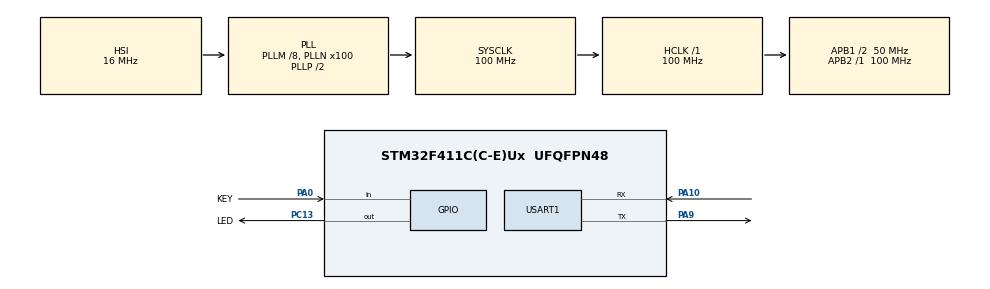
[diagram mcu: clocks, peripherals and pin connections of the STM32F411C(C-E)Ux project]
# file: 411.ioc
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Dma.Request0=USART1_TX
Dma.Request1=USART1_RX
Dma.USART1_RX.1.Direction=DMA_PERIPH_TO_MEMORY
Dma.USART1_RX.1.FIFOMode=DMA_FIFOMODE_DISABLE
Dma.USART1_RX.1.Instance=DMA2_Stream2
Dma.USART1_RX.1.MemDataAlignment=DMA_MDATAALIGN_BYTE
Dma.USART1_RX.1.MemInc=DMA_MINC_ENABLE
Dma.USART1_RX.1.Mode=DMA_NORMAL
Dma.USART1_RX.1.PeriphDataAlignment=DMA_PDATAALIGN_BYTE
Dma.USART1_RX.1.PeriphInc=DMA_PINC_DISABLE
Dma.USART1_RX.1.Priority=DMA_PRIORITY_LOW
Dma.USART1_TX.0.Direction=DMA_MEMORY_TO_PERIPH
Dma.USART1_TX.0.FIFOMode=DMA_FIFOMODE_DISABLE
Dma.USART1_TX.0.Instance=DMA2_Stream7
Dma.USART1_TX.0.MemDataAlignment=DMA_MDATAALIGN_BYTE
Dma.USART1_TX.0.MemInc=DMA_MINC_ENABLE
Dma.USART1_TX.0.Mode=DMA_NORMAL
Dma.USART1_TX.0.PeriphDataAlignment=DMA_PDATAALIGN_BYTE
Dma.USART1_TX.0.PeriphInc=DMA_PINC_DISABLE
Dma.USART1_TX.0.Priority=DMA_PRIORITY_LOW
FREERTOS.Mutexes01=myUASRT,Dynamic,NULL,Available
FREERTOS.Queues01=myQueue01,16,uint16_t,0,Dynamic,NULL,NULL
FREERTOS.Tasks01=defaultTask,24,128,StartDefaultTask,Default,NULL,Dynamic,NULL,NULL;myUSART,24,128,StartTask02,Default,NULL,Dynamic,NULL,NULL
Mcu.Family=STM32F4
Mcu.Name=STM32F411C(C-E)Ux
Mcu.Package=UFQFPN48
NVIC.DMA2_Stream2_IRQn=true\:5\:0\:false\:false\:true\:true\:false\:true\:true
NVIC.DMA2_Stream7_IRQn=true\:5\:0\:false\:false\:true\:true\:false\:true\:true
NVIC.PriorityGroup=NVIC_PRIORITYGROUP_4
NVIC.TIM1_UP_TIM10_IRQn=true\:15\:0\:false\:false\:true\:false\:false\:true\:true
NVIC.TimeBase=TIM1_UP_TIM10_IRQn
NVIC.TimeBaseIP=TIM1
NVIC.USART1_IRQn=true\:5\:0\:false\:false\:true\:true\:false\:true\:true
PA0-WKUP.GPIO_Label=KEY
PA0-WKUP.GPIO_PuPd=GPIO_PULLUP
PA0-WKUP.Signal=GPIO_Input
PA10.Mode=Asynchronous
PA10.Signal=USART1_RX
PA13.Mode=Serial_Wire
PA13.Signal=SYS_JTMS-SWDIO
PA14.Mode=Serial_Wire
PA14.Signal=SYS_JTCK-SWCLK
PA9.Mode=Asynchronous
PA9.Signal=USART1_TX
PC13-ANTI_TAMP.GPIO_Label=LED
PC13-ANTI_TAMP.PinState=GPIO_PIN_SET
PC13-ANTI_TAMP.Signal=GPIO_Output
PH0\ -\ OSC_IN.Mode=HSE-External-Oscillator
PH0\ -\ OSC_IN.Signal=RCC_OSC_IN
PH1\ -\ OSC_OUT.Mode=HSE-External-Oscillator
PH1\ -\ OSC_OUT.Signal=RCC_OSC_OUT
ProjectManager.HeapSize=0x200
ProjectManager.StackSize=0x400
ProjectManager.TargetToolchain=CMake
RCC.48MHZClocksFreq_Value=50000000
RCC.AHBFreq_Value=100000000
RCC.APB1CLKDivider=RCC_HCLK_DIV2
RCC.APB1Freq_Value=50000000
RCC.APB1TimFreq_Value=100000000
RCC.APB2Freq_Value=100000000
RCC.APB2TimFreq_Value=100000000
RCC.CortexFreq_Value=100000000
RCC.HCLKFreq_Value=100000000
RCC.HSE_VALUE=25000000
RCC.HSI_VALUE=16000000
RCC.LSE_VALUE=32768
RCC.PLLM=8
RCC.PLLN=100
RCC.SYSCLKFreq_VALUE=100000000
RCC.SYSCLKSource=RCC_SYSCLKSOURCE_PLLCLK
RCC.VCOOutputFreq_Value=200000000
USART1.VirtualMode=VM_ASYNC
VP_FREERTOS_VS_CMSIS_V2.Mode=CMSIS_V2
VP_SYS_VS_tim1.Mode=TIM1
board=custom

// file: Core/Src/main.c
/* USER CODE BEGIN Header */
/**
  ******************************************************************************
  * @file           : main.c
  * @brief          : Main program body
  ******************************************************************************
  * @attention
  *
  * Copyright (c) 2026 STMicroelectronics.
  * All rights reserved.
  *
  * This software is licensed under terms that can be found in the LICENSE file
  * in the root directory of this software component.
  * If no LICENSE file comes with this software, it is provided AS-IS.
  *
  ******************************************************************************
  */
/* USER CODE END Header */
#include "main.h"
#include "cmsis_os.h"
#include "dma.h"
#include "usart.h"
#include "gpio.h"

/* USER CODE BEGIN Includes */
#include "ota_app_hook.h"   /* OTA 组件 APP 变体（elab components/ota）*/
#include "stdio.h"
/* USER CODE END Includes */

void SystemClock_Config(void);
void MX_FREERTOS_Init(void);

/* USER CODE BEGIN 0 */
/* OTA 组件发现应答通道（0x15 → RSP_COMPONENTS）：轮询发送，ISR 上下文安全 */
static void ota_discovery_write(uint8_t byte)
{
  (void)HAL_UART_Transmit(&huart1, &byte, 1, 10);
}

/* USER CODE END 0 */

int main(void)
{

  /* MCU Configuration--------------------------------------------------------*/

  /* Reset of all peripherals, Initializes the Flash interface and the Systick. */
  HAL_Init();

  /* Configure the system clock */
  SystemClock_Config();

  /* Initialize all configured peripherals */
  MX_GPIO_Init();
  MX_DMA_Init();
  MX_USART1_UART_Init();
  /* USER CODE BEGIN 2 */

    /* ── OTA 组件接入（elab components/ota，方案 §3.5）────────── */
  SCB->VTOR = 0x08010000UL;                      /* APP 布局：向量表重定位到 S4 */
  __HAL_UART_ENABLE_IT(&huart1, UART_IT_RXNE);   /* 逐字节中断: 防 5 连'!'在 IDLE 前被 ORE 丢字节 */
  __HAL_UART_ENABLE_IT(&huart1, UART_IT_IDLE);   /* '!'×5 / 0x15 字节源 */
  OtaHook_SetRespondFn(ota_discovery_write);     /* 组件发现应答通道 */
  (void)OtaHook_EnableDiscovery(0x3UL);          /* 位图：ota(bit0)+serial(bit1) */

/* USER CODE END 2 */

  /* Init scheduler */
  osKernelInitialize();  /* Call init function for freertos objects (in cmsis_os2.c) */
  MX_FREERTOS_Init();

  /* Start scheduler */
  osKernelStart();

  /* We should never get here as control is now taken by the scheduler */

  /* Infinite loop */
  while (1)
  {

  }
}

void SystemClock_Config(void)
{
  RCC_OscInitTypeDef RCC_OscInitStruct = {0};
  RCC_ClkInitTypeDef RCC_ClkInitStruct = {0};

  /** Configure the main internal regulator output voltage
  */
  __HAL_RCC_PWR_CLK_ENABLE();
  __HAL_PWR_VOLTAGESCALING_CONFIG(PWR_REGULATOR_VOLTAGE_SCALE1);

  /** Initializes the RCC Oscillators according to the specified parameters
  * in the RCC_OscInitTypeDef structure.
  */
  RCC_OscInitStruct.OscillatorType = RCC_OSCILLATORTYPE_HSI;
  RCC_OscInitStruct.HSIState = RCC_HSI_ON;
  RCC_OscInitStruct.HSICalibrationValue = RCC_HSICALIBRATION_DEFAULT;
  RCC_OscInitStruct.PLL.PLLState = RCC_PLL_ON;
  RCC_OscInitStruct.PLL.PLLSource = RCC_PLLSOURCE_HSI;
  RCC_OscInitStruct.PLL.PLLM = 8;
  RCC_OscInitStruct.PLL.PLLN = 100;
  RCC_OscInitStruct.PLL.PLLP = RCC_PLLP_DIV2;
  RCC_OscInitStruct.PLL.PLLQ = 4;
  if (HAL_RCC_OscConfig(&RCC_OscInitStruct) != HAL_OK)
  {
    Error_Handler();
  }

  /** Initializes the CPU, AHB and APB buses clocks
  */
  RCC_ClkInitStruct.ClockType = RCC_CLOCKTYPE_HCLK|RCC_CLOCKTYPE_SYSCLK
                              |RCC_CLOCKTYPE_PCLK1|RCC_CLOCKTYPE_PCLK2;
  RCC_ClkInitStruct.SYSCLKSource = RCC_SYSCLKSOURCE_PLLCLK;
  RCC_ClkInitStruct.AHBCLKDivider = RCC_SYSCLK_DIV1;
  RCC_ClkInitStruct.APB1CLKDivider = RCC_HCLK_DIV2;
  RCC_ClkInitStruct.APB2CLKDivider = RCC_HCLK_DIV1;

  if (HAL_RCC_ClockConfig(&RCC_ClkInitStruct, FLASH_LATENCY_3) != HAL_OK)
  {
    Error_Handler();
  }
}

void HAL_TIM_PeriodElapsedCallback(TIM_HandleTypeDef *htim)
{
  if (htim->Instance == TIM1)
  {
    HAL_IncTick();
  }
}

void Error_Handler(void)
{
  __disable_irq();
  while (1)
  {
  }
}

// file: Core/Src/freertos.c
/* USER CODE BEGIN Header */
/**
  ******************************************************************************
  * File Name          : freertos.c
  * Description        : Code for freertos applications
  ******************************************************************************
  * @attention
  *
  * Copyright (c) 2026 STMicroelectronics.
  * All rights reserved.
  *
  * This software is licensed under terms that can be found in the LICENSE file
  * in the root directory of this software component.
  * If no LICENSE file comes with this software, it is provided AS-IS.
  *
  ******************************************************************************
  */
/* USER CODE END Header */

#include "FreeRTOS.h"
#include "task.h"
#include "main.h"
#include "cmsis_os.h"

/* USER CODE BEGIN Includes */
#include "ota_app_hook.h"   /* OTA 触发消费（elab components/ota）*/
#include "ota_confirm.h"    /* ★ 双槽试运行确认（单槽芯片=空操作） */
#include "stdio.h"
#include "main.h"
#include "usart.h"
#include "KEY.h"
#include "math.h"           /* elab 波形演示：sinf 产生正弦（FireWater 输出） */
#include <string.h>         /* strncmp / memcmp —— echo 任务里仅头部比较 */
/* USER CODE END Includes */

/* USER CODE BEGIN PTD */
/* elab 串口波形演示：以 FireWater 文本协议输出双通道正弦值（实现见文件末尾）。
   CH1 = 基准正弦，CH2 = 延迟半个周期（相位 -π，与 CH1 反相）。 */
static void wave_emit_sine2(float v1, float v2);

/* elab echo 任务：从 USART1 IRQ 喂入的环形缓冲消费 RX 字节，按 \r\n 切帧，
   识别 PING / STATS? / ECHO_ENABLE 命令并回显；用于双向吞吐与 RTT 压测。
   栈仅 512 B —— 同 myUSART 任务压过栈爆坑，故只用 fputc 逐字节发，不走 printf */
extern void echo_ring_push(uint8_t c);
extern uint8_t echo_ring_pull(void);
static void echo_emit(const char *s);   /* fputc 小包装，同 wave_emit_sine2 策略 */
static void StartTask03_Echo(void *argument);
/* USER CODE END PTD */

/* Definitions for defaultTask */
osThreadId_t defaultTaskHandle;
const osThreadAttr_t defaultTask_attributes = {
  .name = "defaultTask",
  .stack_size = 128 * 4,
  .priority = (osPriority_t) osPriorityNormal,
};
/* Definitions for myUSART */
osThreadId_t myUSARTHandle;
const osThreadAttr_t myUSART_attributes = {
  .name = "myUSART",
  .stack_size = 128 * 4,
  .priority = (osPriority_t) osPriorityNormal,
};
/* Definitions for myQueue01 */
osMessageQueueId_t myQueue01Handle;
const osMessageQueueAttr_t myQueue01_attributes = {
  .name = "myQueue01"
};
/* Definitions for myUASRT */
osMutexId_t myUASRTHandle;
const osMutexAttr_t myUASRT_attributes = {
  .name = "myUASRT"
};

/* USER CODE BEGIN FunctionPrototypes */
extern osMutexId_t myUASRTHandle;

/* USER CODE END FunctionPrototypes */

void StartDefaultTask(void *argument);
void StartTask02(void *argument);

void MX_FREERTOS_Init(void); /* (MISRA C 2004 rule 8.1) */

void MX_FREERTOS_Init(void) {
  /* Create the mutex(es) */
  /* creation of myUASRT */
  myUASRTHandle = osMutexNew(&myUASRT_attributes);

  /* Create the queue(s) */
  /* creation of myQueue01 */
  myQueue01Handle = osMessageQueueNew (16, sizeof(uint16_t), &myQueue01_attributes);

  /* Create the thread(s) */
  /* creation of defaultTask */
  defaultTaskHandle = osThreadNew(StartDefaultTask, NULL, &defaultTask_attributes);

  /* creation of myUSART */
  myUSARTHandle = osThreadNew(StartTask02, NULL, &myUSART_attributes);

  /* USER CODE BEGIN RTOS_THREADS */
  /* creation of echoTask —— elab 串口压测 / 双向回显任务
     栈 512 B（同 myUSART，不走 printf；fputc 逐字节安全），
     priority Normal：与 myUSART 同级，按时间片轮换，避免波形 100Hz 持续输出
     把 echo 任务饿死导致 PING 丢包（修复前 BelowNormal 丢包 ~9%） */
  osThreadId_t echoTaskHandle;
  const osThreadAttr_t echoTask_attributes = {
    .name = "echoTask",
    .stack_size = 128 * 4,
    .priority = (osPriority_t) osPriorityNormal,
  };
  echoTaskHandle = osThreadNew(StartTask03_Echo, NULL, &echoTask_attributes);
  /* USER CODE END RTOS_THREADS */

}

void StartDefaultTask(void *argument)
{
  /* USER CODE BEGIN StartDefaultTask */
  uint32_t alive_ticks = 0;
  /* Infinite loop */
  for(;;)
  {
    /* OTA 触发标志消费：'!'×5 → 业务停机回调(未注册=空) → READY → 2s → 复位 */
    OtaAppHook_HandleTrigger();

	HAL_GPIO_TogglePin(LED_GPIO_Port, LED_Pin);
	//printf("LEDTogglePin\r\n");
	/* elab monitor 存活判据：^\[(boot|alive)\]（projects/f411.yaml monitor.close_on） */
	printf("[alive] tick=%lu\r\n", (unsigned long)HAL_GetTick());
    /* ★ 双槽回滚方案 §4.3：心跳第 3 次成立 = 自检通过 → 确认试运行
       （与 monitor 闭环判据同源；单槽芯片 OTA_Confirm 为空操作） */
    if (++alive_ticks == 3) {
        OTA_Confirm();
    }
    osDelay(1000);
  }
  /* USER CODE END StartDefaultTask */
}

void StartTask02(void *argument)
{
  /* USER CODE BEGIN StartTask02 */
  uint16_t key_value;

  /* Infinite loop */
  for(;;)
  {
    key_scan();
    if (osMessageQueueGet(myQueue01Handle, &key_value, NULL, 0) == osOK)
  {
      printf("KEY:%u\r\n", key_value);
  }

    /* elab 波形演示：100 Hz 采样、0.5 Hz 正弦（FireWater 协议 "a,b\r\n"）。
       CH1 基准、CH2 延迟半个周期（相位 -π = 反相）——面板「串口 → 波形」
       选 FireWater 即可看到两条反相曲线；[alive] 行由 defaultTask 每秒发一次。 */
    {
      static float wave_phase = 0.0f;
      wave_phase += 0.0314159f;                 /* 2π × 0.5 Hz / 100 Hz */
      if (wave_phase >= 6.283185f) wave_phase -= 6.283185f;
      wave_emit_sine2(sinf(wave_phase), sinf(wave_phase - 3.1415927f));
    }

    osDelay(10);
  }
  /* USER CODE END StartTask02 */
}

/* USER CODE BEGIN Application */
/* ── echo 任务辅助（小缓冲逐字节，不走 printf） ── */
static void echo_emit(const char *s) {
  while (*s) fputc((unsigned char)*s++, stdout);
}
static void echo_emit_u32(uint32_t n) {
  char buf[12]; int i = 0;
  if (n == 0) { buf[i++] = '0'; }
  while (n) { buf[i++] = (char)('0' + n % 10U); n /= 10U; }
  while (i) fputc((unsigned char)buf[--i], stdout);
}

/* StartTask03_Echo —— USART1 RX 消费 + PING/STATS 回显（双向压测固件端）
   帧格式：\r\n 分隔；命令帧开头 = PING: / STATS? / ECHO_ENABLE 0|1
   自上报：每 50 次 echo 输出 [echo] total=N bytes=N 一行 */
static void StartTask03_Echo(void *argument)
{
  char  frame[64];        /* 当前帧（不存 \r\n，零尾部当作"无内容"丢弃） */
  int   fn = 0;           /* 帧内字符数 */
  uint32_t total_echo = 0, total_bytes = 0, report_div = 0;
  uint32_t echo_on = 1;   /* 可被 ECHO_ENABLE 关 */
  uint8_t  c;

  for (;;) {
    while ((c = echo_ring_pull()) != 0) {   /* 0 = 空（未接收到），合法数据 > 0 */
      if (c == '\r' || c == '\n') {
        if (fn == 0) { continue; }          /* 空行丢掉（echo_ring 满时可能残留零头） */
        frame[fn] = '\0';

        /* ── 命令识别 ── */
        if (echo_on && fn >= 5 && strncmp(frame, "PING:", 5) == 0) {
          echo_emit("PONG:");
          echo_emit(frame + 5);             /* payload 原样（不含 PING: 前缀） */
          fputc('\r', stdout); fputc('\n', stdout);
          total_echo++; total_bytes += (uint32_t)fn;
          report_div++;
        } else if (echo_on && fn >= 5 && strncmp(frame, "PONG:", 5) == 0) {
          /* 自己发出的回显又被 echo 回显了 —— 必须忽略，否则无限递归 */
        } else if (fn == 6 && strncmp(frame, "STATS?", 6) == 0) {
          echo_emit("[echo] total="); echo_emit_u32(total_echo);
          echo_emit(" bytes=");       echo_emit_u32(total_bytes);
          echo_emit(" enable=");      echo_emit_u32(echo_on);
          fputc('\r', stdout); fputc('\n', stdout);
        } else if (fn >= 12 && strncmp(frame, "ECHO_ENABLE ", 12) == 0) {
          uint32_t v = (uint32_t)(frame[12] - '0');
          echo_on = (v == 1) ? 1U : 0U;
          echo_emit("[echo] enable="); echo_emit_u32(echo_on);
          fputc('\r', stdout); fputc('\n', stdout);
        }

        /* ── 自上报（每 50 次 echo） ── */
        if (report_div >= 50U) {
          report_div = 0U;
          echo_emit("[echo] total="); echo_emit_u32(total_echo);
          echo_emit(" bytes=");       echo_emit_u32(total_bytes);
          fputc('\r', stdout); fputc('\n', stdout);
        }
        fn = 0;
      } else if (fn < 63) {
        frame[fn++] = (char)c;
      }
      /* fn == 63 满时静默丢整帧 —— echo 命令帧不可能那么长，极端防御 */
    }
    /* ring 空了，释放 CPU 给波形输出 & 心跳，1ms 后再拉 */
    osDelay(1);
  }
}

int fputc(int ch, FILE *stream)
{
  osMutexAcquire(myUASRTHandle,portMAX_DELAY);
  static uint8_t buf;
  buf = (uint8_t)ch;
  while(HAL_UART_GetState(&huart1) != HAL_UART_STATE_READY);
  HAL_UART_Transmit_DMA(&huart1, &buf, 1);
  osMutexRelease(myUASRTHandle);
  return ch;
}

/**
  * @brief newlib retarget：printf → _write()（syscalls.c）→ __io_putchar。
  *        ★ syscalls.c 里 __io_putchar 只有 weak 声明，无定义时 _write 会调到
  *          地址 0（跳飞/HardFault）。这里带函数体定义并复用上方 fputc 的
  *          DMA 通道 + 互斥锁，与本工程已有串口输出走同一条路。
  *        ★ elab adapt 探测「有输出能力」依据的正是本定义 + printf 调用。
  */
int __io_putchar(int ch)
{
  fputc(ch, stdout);
  return ch;
}

/**
  * @brief elab 串口波形演示：把两个 [-1,1] 的浮点值按 FireWater 协议打成一行
  *        （``0.707,-0.707\r\n``），逗号分隔 = 两个通道。
  *        ★ 不用 printf：myUSART 任务栈只有 512 B，newlib 的 printf 会把这栈
  *          压爆（实测 2026-11-01：100 Hz 输出跑几秒后 HardFault）。这里用
  *          24 B 小缓冲 + fputc 逐字节发；fputc 自带互斥，与 defaultTask 的
  *          ``[alive]`` 打印安全交错。整数值用毫单位拼装 —— newlib-nano 未开
  *          ``-u _printf_float``，``%f`` 也打不出小数。
  */
static void wave_emit_sine2(float v1, float v2)
{
  char buf[24];
  int n = 0;
  for (int ch = 0; ch < 2; ch++) {
    int milli = (int)((ch == 0 ? v1 : v2) * 1000.0f);  /* [-1000, 1000] */
    uint32_t mag = (uint32_t)(milli < 0 ? -milli : milli);
    if (ch == 1) buf[n++] = ',';                       /* 通道分隔 */
    if (milli < 0) buf[n++] = '-';
    buf[n++] = (char)('0' + (mag / 1000u) % 10u);      /* 整数位（0 或 1） */
    buf[n++] = '.';
    buf[n++] = (char)('0' + (mag / 100u) % 10u);
    buf[n++] = (char)('0' + (mag / 10u) % 10u);
    buf[n++] = (char)('0' + mag % 10u);
  }
  buf[n++] = '\r';
  buf[n++] = '\n';
  for (int i = 0; i < n; i++) {
    fputc(buf[i], stdout);
  }
}
/* USER CODE END Application */
